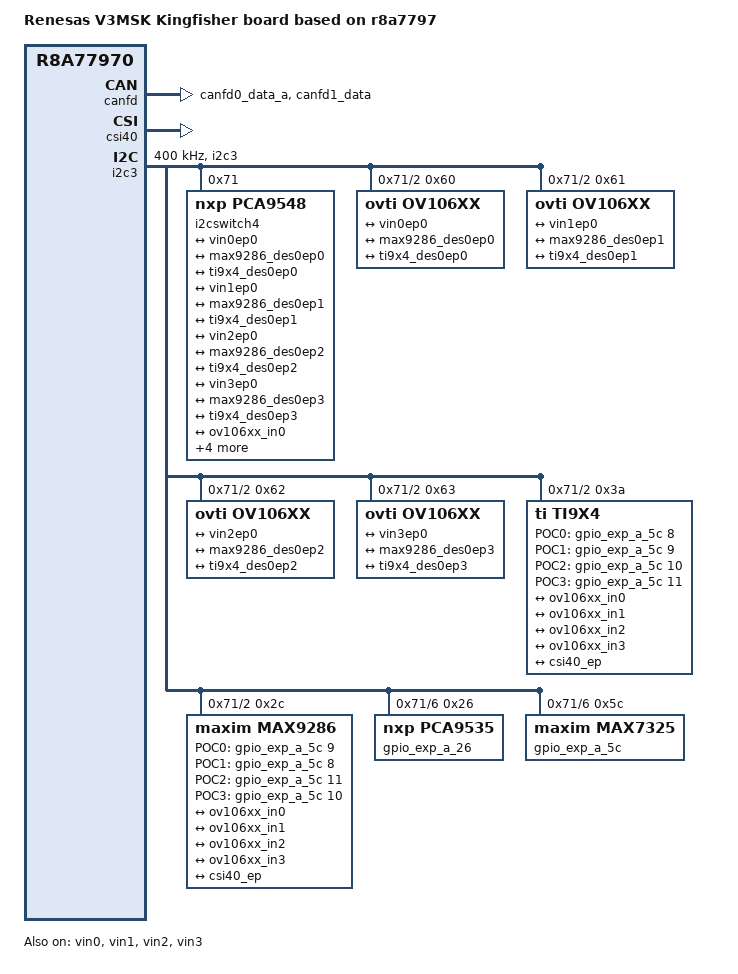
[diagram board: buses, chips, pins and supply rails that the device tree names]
/*
 * Device Tree Source for the V3MSK Kingfisher board on r8a7797
 *
 * Copyright (C) 2017 Renesas Electronics Corp.
 * Copyright (C) 2017 Cogent Embedded, Inc.
 *
 * This file is licensed under the terms of the GNU General Public License
 * version 2.  This program is licensed "as is" without any warranty of any
 * kind, whether express or implied.
 */

#include "r8a77970-v3msk.dts"
#include <dt-bindings/gpio/gpio.h>

/ {
	model = "Renesas V3MSK Kingfisher board based on r8a7797";
};

&canfd {
	pinctrl-0 = <&canfd0_pins &canfd1_pins>;
	pinctrl-names = "default";
	status = "okay";

	channel0 {
		status = "okay";
	};

	channel1 {
		status = "okay";
	};
};

&csi40 {
	status = "okay";

	virtual,channel {
		csi2_vc0 {
			data,type = "ycbcr422";
			receive,vc = <0>;
		};
		csi2_vc1 {
			data,type = "ycbcr422";
			receive,vc = <1>;
		};
		csi2_vc2 {
			data,type = "ycbcr422";
			receive,vc = <2>;
		};
		csi2_vc3 {
			data,type = "ycbcr422";
			receive,vc = <3>;
		};
	};

	port {
		#address-cells = <1>;
		#size-cells = <0>;

		csi40_ep: endpoint {
			clock-lanes = <0>;
			data-lanes = <1 2 3 4>;
			csi-rate = <300>;
		};
	};
};

&i2c0 {
	/* i2c0 might conflict with pc9548 reset pin on Kingfisher (uncomment if h/w not patched) */
//	status = "disabled";
};

&i2c3 {
	pinctrl-0 = <&i2c3_pins>;
	pinctrl-names = "default";
	status = "okay";

	clock-frequency = <400000>;

	i2cswitch4: pca9548@71 {
		compatible = "nxp,pca9548";
		#address-cells = <1>;
		#size-cells = <0>;
		reg = <0x71>;
//		reset-gpios= <&gpio3 15 GPIO_ACTIVE_LOW>;

		i2c@2 {
			#address-cells = <1>;
			#size-cells = <0>;
			reg = <2>;
			/* Slot B (CN11) */

			ov106xx@0 {
				compatible = "ovti,ov106xx";
				reg = <0x60>;

				port@0 {
					ov106xx_in0: endpoint {
						clock-lanes = <0>;
						data-lanes = <1 2 3 4>;
						remote-endpoint = <&vin0ep0>;
					};
				};
				port@1 {
					ov106xx_max9286_des0ep0: endpoint@0 {
						remote-endpoint = <&max9286_des0ep0>;
					};
					ov106xx_ti9x4_des0ep0: endpoint@1 {
						remote-endpoint = <&ti9x4_des0ep0>;
					};
				};
			};

			ov106xx@1 {
				compatible = "ovti,ov106xx";
				reg = <0x61>;

				port@0 {
					ov106xx_in1: endpoint {
						clock-lanes = <0>;
						data-lanes = <1 2 3 4>;
						remote-endpoint = <&vin1ep0>;
					};
				};
				port@1 {
					ov106xx_max9286_des0ep1: endpoint@0 {
						remote-endpoint = <&max9286_des0ep1>;
					};
					ov106xx_ti9x4_des0ep1: endpoint@1 {
						remote-endpoint = <&ti9x4_des0ep1>;
					};
				};
			};

			ov106xx@2 {
				compatible = "ovti,ov106xx";
				reg = <0x62>;

				port@0 {
					ov106xx_in2: endpoint {
						clock-lanes = <0>;
						data-lanes = <1 2 3 4>;
						remote-endpoint = <&vin2ep0>;
					};
				};
				port@1 {
					ov106xx_max9286_des0ep2: endpoint@0 {
						remote-endpoint = <&max9286_des0ep2>;
					};
					ov106xx_ti9x4_des0ep2: endpoint@1 {
						remote-endpoint = <&ti9x4_des0ep2>;
					};
				};
			};

			ov106xx@3 {
				compatible = "ovti,ov106xx";
				reg = <0x63>;

				port@0 {
					ov106xx_in3: endpoint {
						clock-lanes = <0>;
						data-lanes = <1 2 3 4>;
						remote-endpoint = <&vin3ep0>;
					};
				};
				port@1 {
					ov106xx_max9286_des0ep3: endpoint@0 {
						remote-endpoint = <&max9286_des0ep3>;
					};
					ov106xx_ti9x4_des0ep3: endpoint@1 {
						remote-endpoint = <&ti9x4_des0ep3>;
					};
				};
			};

			/* DS90UB9x4 @ 0x3a */
			ti9x4@0 {
				compatible = "ti,ti9x4";
				reg = <0x3a>;
				ti,links = <4>;
				ti,lanes = <4>;
				ti,forwarding-mode = "round-robin";

				POC0-gpios = <&gpio_exp_a_5c 8 GPIO_ACTIVE_HIGH>;
				POC1-gpios = <&gpio_exp_a_5c 9 GPIO_ACTIVE_HIGH>;
				POC2-gpios = <&gpio_exp_a_5c 10 GPIO_ACTIVE_HIGH>;
				POC3-gpios = <&gpio_exp_a_5c 11 GPIO_ACTIVE_HIGH>;

				port@0 {
					ti9x4_des0ep0: endpoint@0 {
						ti9x3-addr = <0x0c>;
						dvp-order = <0>;
						remote-endpoint = <&ov106xx_in0>;
					};
					ti9x4_des0ep1: endpoint@1 {
						ti9x3-addr = <0x0d>;
						dvp-order = <0>;
						remote-endpoint = <&ov106xx_in1>;
					};
					ti9x4_des0ep2: endpoint@2 {
						ti9x3-addr = <0x0e>;
						dvp-order = <0>;
						remote-endpoint = <&ov106xx_in2>;
					};
					ti9x4_des0ep3: endpoint@3 {
						ti9x3-addr = <0x0f>;
						dvp-order = <0>;
						remote-endpoint = <&ov106xx_in3>;
					};
				};
				port@1 {
					ti9x4_csi0ep0: endpoint {
						csi-rate = <800>;
						remote-endpoint = <&csi40_ep>;
					};
				};
			};

			/* MAX9286 @ 0x2c */
			max9286@0 {
				compatible = "maxim,max9286";
				reg = <0x2c>;
				maxim,links = <4>;
				maxim,lanes = <4>;
				maxim,resetb-gpio = <1>;
				maxim,fsync-mode = "automatic";
				maxim,timeout = <100>;

				POC0-gpios = <&gpio_exp_a_5c 9 GPIO_ACTIVE_HIGH>;
				POC1-gpios = <&gpio_exp_a_5c 8 GPIO_ACTIVE_HIGH>;
				POC2-gpios = <&gpio_exp_a_5c 11 GPIO_ACTIVE_HIGH>;
				POC3-gpios = <&gpio_exp_a_5c 10 GPIO_ACTIVE_HIGH>;

				port@0 {
					max9286_des0ep0: endpoint@0 {
						max9271-addr = <0x50>;
						dvp-order = <1>;
						remote-endpoint = <&ov106xx_in0>;
					};
					max9286_des0ep1: endpoint@1 {
						max9271-addr = <0x51>;
						dvp-order = <1>;
						remote-endpoint = <&ov106xx_in1>;
					};
					max9286_des0ep2: endpoint@2 {
						max9271-addr = <0x52>;
						dvp-order = <1>;
						remote-endpoint = <&ov106xx_in2>;
					};
					max9286_des0ep3: endpoint@3 {
						max9271-addr = <0x53>;
						dvp-order = <1>;
						remote-endpoint = <&ov106xx_in3>;
					};
				};
				port@1 {
					max9286_csi0ep0: endpoint {
						csi-rate = <700>;
						remote-endpoint = <&csi40_ep>;
					};
				};
			};
		};

		i2c@6 {
			#address-cells = <1>;
			#size-cells = <0>;
			reg = <6>;
			/* Slot B (CN11) */

			/* PCA9535 is a redundant/deprecated card */
			gpio_exp_a_26: gpio@26 {
				compatible = "nxp,pca9535";
				reg = <0x26>;
				gpio-controller;
				#gpio-cells = <2>;

				video_a_des_cfg1 {
					gpio-hog;
					gpios = <5 GPIO_ACTIVE_HIGH>;
					input;
					line-name = "Video-A cfg1";
				};
				video_a_des_cfg0 {
					gpio-hog;
					gpios = <6 GPIO_ACTIVE_HIGH>;
					input;
					line-name = "Video-A cfg0";
				};
				video_a_pwr_shdn {
					gpio-hog;
					gpios = <3 GPIO_ACTIVE_HIGH>;
					output-high;
					line-name = "Video-A PWR_SHDN";
				};
				video_a_cam_pwr0 {
					gpio-hog;
					gpios = <12 GPIO_ACTIVE_HIGH>;
					output-high;
					line-name = "Video-A PWR0";
				};
				video_a_cam_pwr1 {
					gpio-hog;
					gpios = <13 GPIO_ACTIVE_HIGH>;
					output-high;
					line-name = "Video-A PWR1";
				};
				video_a_cam_pwr2 {
					gpio-hog;
					gpios = <14 GPIO_ACTIVE_HIGH>;
					output-high;
					line-name = "Video-A PWR2";
				};
				video_a_cam_pwr3 {
					gpio-hog;
					gpios = <15 GPIO_ACTIVE_HIGH>;
					output-high;
					line-name = "Video-A PWR3";
				};
				video_a_des_shdn {
					gpio-hog;
					gpios = <4 GPIO_ACTIVE_HIGH>;
					output-high;
					line-name = "Video-A DES_SHDN";
				};
				video_a_des_led {
					gpio-hog;
					gpios = <7 GPIO_ACTIVE_HIGH>;
					output-low;
					line-name = "Video-A led";
				};
			};

			gpio_exp_a_5c: gpio@5c {
				compatible = "maxim,max7325";
				reg = <0x5c>;
				gpio-controller;
				#gpio-cells = <2>;

				video_a_des_cfg2 {
					gpio-hog;
					gpios = <4 GPIO_ACTIVE_HIGH>;
					input;
					line-name = "Video-A cfg2";
				};
				video_a_des_cfg1 {
					gpio-hog;
					gpios = <6 GPIO_ACTIVE_HIGH>;
					input;
					line-name = "Video-A cfg1";
				};
				video_a_des_cfg0 {
					gpio-hog;
					gpios = <7 GPIO_ACTIVE_HIGH>;
					input;
					line-name = "Video-A cfg0";
				};
				video_a_pwr_shdn {
					gpio-hog;
					gpios = <14 GPIO_ACTIVE_HIGH>;
					output-high;
					line-name = "Video-A PWR_SHDN";
				};
				video_a_des_shdn {
					gpio-hog;
					gpios = <13 GPIO_ACTIVE_HIGH>;
					output-high;
					line-name = "Video-A DES_SHDN";
				};
				video_a_led {
					gpio-hog;
					gpios = <12 GPIO_ACTIVE_HIGH>;
					output-low;
					line-name = "Video-A LED";
				};
			};
		};
	};
};

&pfc {
	canfd0_pins: canfd0 {
		groups = "canfd0_data_a";
		function = "canfd0";
	};

	canfd1_pins: canfd1 {
		groups = "canfd1_data";
		function = "canfd1";
	};

	i2c3_pins: i2c3 {
		groups = "i2c3";
		function = "i2c3";
	};
};

&vin0 {
	status = "okay";

	ports {
		#address-cells = <1>;
		#size-cells = <0>;

		port@0 {
			vin0ep0: endpoint {
				csi,select = "csi40";
				virtual,channel = <0>;
				data-lanes = <1 2 3 4>;
				remote-endpoint = <&ov106xx_in0>;
			};
		};
		port@1 {
			csi0ep0: endpoint {
				remote-endpoint = <&csi40_ep>;
			};
		};
		port@2 {
			vin0_max9286_des0ep0: endpoint@0 {
				remote-endpoint = <&max9286_des0ep0>;
			};
			vin0_ti9x4_des0ep0: endpoint@1 {
				remote-endpoint = <&ti9x4_des0ep0>;
			};
		};
	};
};

&vin1 {
	status = "okay";

	ports {
		#address-cells = <1>;
		#size-cells = <0>;

		port@0 {
			vin1ep0: endpoint {
				csi,select = "csi40";
				virtual,channel = <1>;
				data-lanes = <1 2 3 4>;
				remote-endpoint = <&ov106xx_in1>;
			};
		};
		port@1 {
			csi0ep1: endpoint {
				remote-endpoint = <&csi40_ep>;
			};
		};
		port@2 {
			vin1_max9286_des0ep1: endpoint@0 {
				remote-endpoint = <&max9286_des0ep1>;
			};
			vin1_ti9x4_des0ep1: endpoint@1 {
				remote-endpoint = <&ti9x4_des0ep1>;
			};
		};
	};
};

&vin2 {
	status = "okay";

	ports {
		#address-cells = <1>;
		#size-cells = <0>;

		port@0 {
			vin2ep0: endpoint {
				csi,select = "csi40";
				virtual,channel = <2>;
				data-lanes = <1 2 3 4>;
				remote-endpoint = <&ov106xx_in2>;
			};
		};
		port@1 {
			csi0ep2: endpoint {
				remote-endpoint = <&csi40_ep>;
			};
		};
		port@2 {
			vin2_max9286_des0ep2: endpoint@0 {
				remote-endpoint = <&max9286_des0ep2>;
			};
			vin2_ti9x4_des0ep2: endpoint@1 {
				remote-endpoint = <&ti9x4_des0ep2>;
			};
		};
	};
};

&vin3 {
	status = "okay";

	ports {
		#address-cells = <1>;
		#size-cells = <0>;

		port@0 {
			vin3ep0: endpoint {
				csi,select = "csi40";
				virtual,channel = <3>;
				data-lanes = <1 2 3 4>;
				remote-endpoint = <&ov106xx_in3>;
			};
		};
		port@1 {
			csi0ep3: endpoint {
				remote-endpoint = <&csi40_ep>;
			};
		};
		port@2 {
			vin3_max9286_des0ep3: endpoint@0 {
				remote-endpoint = <&max9286_des0ep3>;
			};
			vin3_ti9x4_des0ep3: endpoint@1 {
				remote-endpoint = <&ti9x4_des0ep3>;
			};
		};
	};
};
